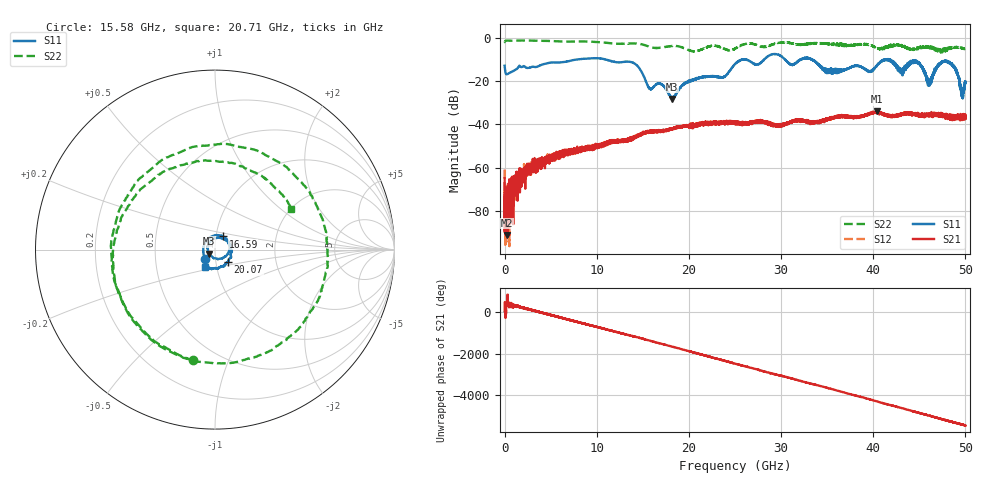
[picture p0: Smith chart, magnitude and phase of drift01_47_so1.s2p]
!Created with skrf (http://scikit-rf.org).
# Hz S RI R 50.0
!freq ReS11 ImS11 ReS21 ImS21 ReS12 ImS12 ReS22 ImS22
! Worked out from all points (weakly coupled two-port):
!   10001 points, 300 kHz to 50 GHz, reference 50 ohm
!   highest |S21| = -34.04 dB at 40.44 GHz (marker M1); lowest = -90.8 dB at 295.3 MHz (marker M2)
!   lowest |S11| = -28.3 dB at 18.15 GHz (marker M3), VSWR 1.08, Z = 46.9 - j2.07 ohm
!   |S11| at or under -10 dB: start of sweep to 8.078 GHz; 10.89 GHz to 25.83 GHz (14.94 GHz wide, 81.4 % of centre); 41.61 GHz to end of sweep (the widest 3 of 17)
!   |S22| runs from -6.9 to -1.4 dB; largest |S21 - S12| = 0.004
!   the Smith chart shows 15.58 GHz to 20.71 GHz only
!   S11 on the Smith chart (normalised r, x): 15.58 GHz: 0.89, -0.09; 16.59 GHz: 1.08, +0.16; 20.07 GHz: 1.14, -0.16; 20.71 GHz: 0.88, -0.18
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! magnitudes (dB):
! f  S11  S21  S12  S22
! 300 kHz  -13.0  -64.7  -60.8  -2.1
! 295.3 MHz  -16.9  -90.8  -77.8  -1.4
! 2.495 GHz  -14.0  -61.5  -60.1  -1.4
! 8.335 GHz  -9.9  -51.9  -51.9  -1.8
! 13.88 GHz  -11.5  -45.7  -46.5  -2.7
! 15.58 GHz  -22.5  -43.3  -43.3  -4.0
! 16.59 GHz  -21.4  -43.1  -42.9  -4.8
! 16.67 GHz  -21.2  -43.0  -43.0  -4.8
! 18.15 GHz  -28.3  -42.2  -42.0  -3.9
! 20.07 GHz  -19.9  -40.5  -40.3  -6.0
! 20.71 GHz  -18.9  -39.7  -40.1  -6.3
! 25 GHz  -12.2  -39.2  -39.2  -5.2
! 33.34 GHz  -10.1  -39.2  -38.9  -2.6
! 35.23 GHz  -14.7  -37.0  -37.3  -2.9
! 40.44 GHz  -12.6  -34.0  -34.5  -4.8
! 41.67 GHz  -10.5  -35.7  -36.0  -4.4
! 43.07 GHz  -15.1  -35.5  -35.3  -3.6
! 44.78 GHz  -11.1  -34.9  -35.5  -4.6
! 46.11 GHz  -21.7  -34.9  -36.2  -4.6
! 48.09 GHz  -11.5  -36.4  -36.5  -4.8
! 49.64 GHz  -24.5  -38.0  -35.6  -4.8
! 50 GHz  -21.0  -36.5  -36.6  -5.4
